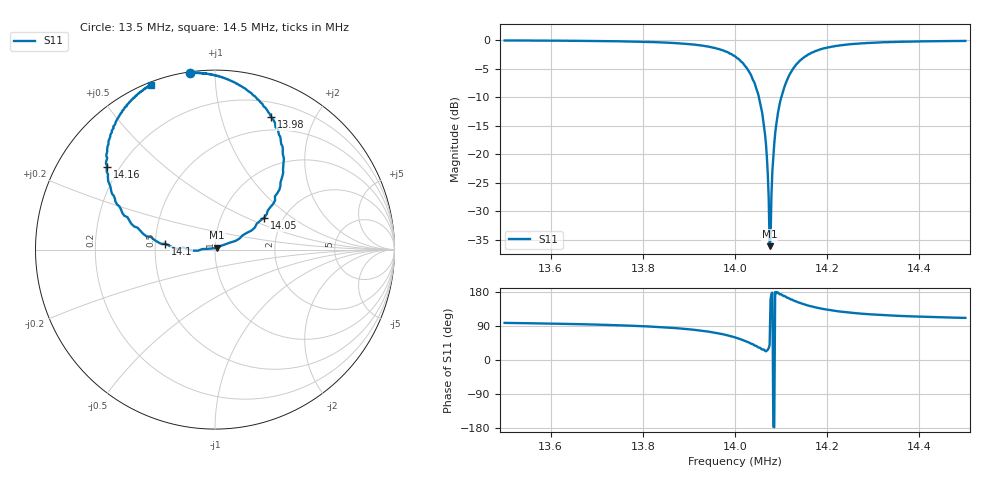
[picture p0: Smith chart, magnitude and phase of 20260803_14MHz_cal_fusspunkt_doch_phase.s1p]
# HZ S RI R 50
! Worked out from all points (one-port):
!   500 points, 13.5 MHz to 14.5 MHz, reference 50 ohm
!   lowest |S11| = -36.1 dB at 14.08 MHz (marker M1), VSWR 1.03, Z = 51.2 + j1.01 ohm
!   |S11| at or under -10 dB: 14.05182 MHz to 14.10063 MHz (48.82 kHz wide, 0.347 % of centre)
!   S11 on the Smith chart (normalised r, x): 13.5 MHz: 0.01, +0.87; 13.98 MHz: 0.35, +1.45; 14.05 MHz: 1.60, +0.64; 14.1 MHz: 0.56, +0.04; 14.16 MHz: 0.15, +0.33; 14.5 MHz: 0.01, +0.69
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1.35e7  -0.1366 0.9837
1.362625e7  -0.0926 0.9836
1.37505e7  -0.025 0.9766
1.387675e7  0.1052 0.9329
1.393487e7  0.2122 0.8609
1.397695e7  0.3124 0.7402
1.4001e7  0.3658 0.6164
1.403106e7  0.3646 0.3734
1.40511e7  0.2737 0.1776
1.405912e7  0.2029 0.1061
1.406513e7  0.136 0.0612
1.406914e7  0.0861 0.0398
1.407314e7  0.035 0.0214
1.407515e7  0.012 0.00991
1.407715e7  -0.017 0.00633
1.407916e7  -0.0448 0.004
1.408316e7  -0.0951 -0.00618
1.408717e7  -0.1511 0.00174
1.409118e7  -0.2029 0.00333
1.409719e7  -0.2778 0.0327
1.411122e7  -0.4163 0.1054
1.412525e7  -0.5167 0.2049
1.414328e7  -0.581 0.3418
1.416132e7  -0.6022 0.4583
1.42014e7  -0.5835 0.6368
1.42515e7  -0.5256 0.7586
1.437575e7  -0.4157 0.8774
1.45e7  -0.355 0.9183
